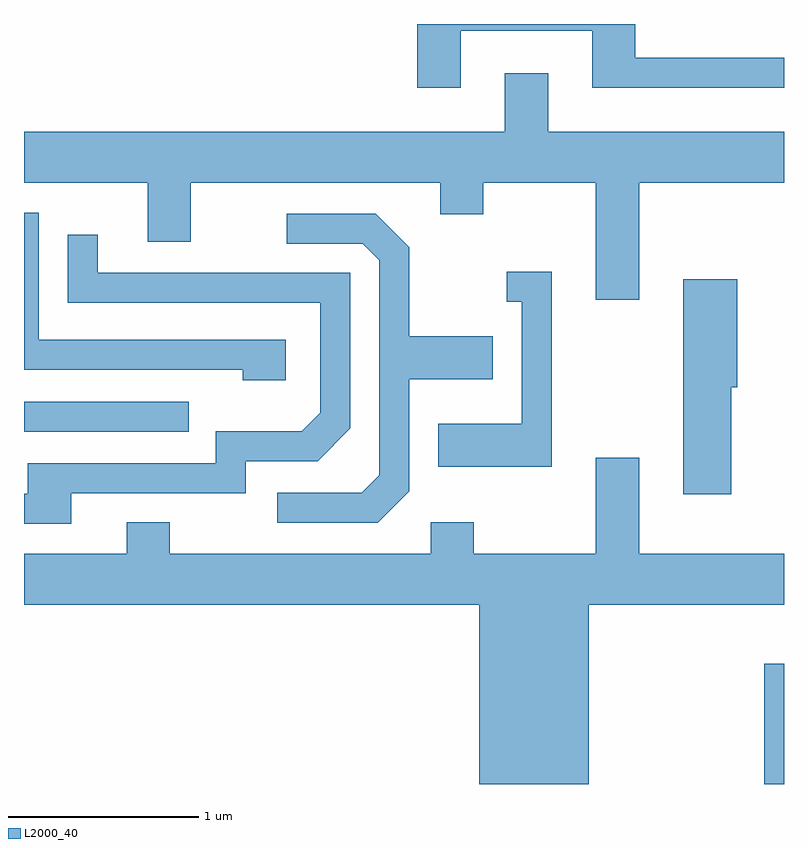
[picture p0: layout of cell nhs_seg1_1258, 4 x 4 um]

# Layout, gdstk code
import gdstk
lib = gdstk.Library(unit=1e-6, precision=1e-09)
def R(c, l, rs):  # rectangles x0, y0, x1, y1
    for r in rs: c.add(gdstk.rectangle(r[:2], r[2:], *l))
def P(c, l, *ps):  # polygons
    for p in ps: c.add(gdstk.Polygon(p, *l))
L2000_40 = (2000, 40)

nhs_seg1_1258 = lib.new_cell('nhs_seg1_1258')
R(nhs_seg1_1258, L2000_40, [(227.506,929.712,227.611,930.344), (223.611,931.566,224.478,931.724)])
P(nhs_seg1_1258, L2000_40, [(225.909,933.676),(226.601,933.676),(226.601,933.376),(227.611,933.376),(227.611,933.534),(226.829,933.534),(226.829,933.712),(225.681,933.712),(225.681,933.376),(225.909,933.376)],
  [(226.849,932.876),(227.611,932.876),(227.611,933.144),(226.369,933.144),(226.369,933.454),(226.141,933.454),(226.141,933.144),(223.611,933.144),(223.611,932.876),(224.261,932.876),(224.261,932.566),(224.489,932.566),(224.489,932.876),(225.801,932.876),(225.801,932.711),(226.029,932.711),(226.029,932.876),(226.621,932.876),(226.621,932.261),(226.849,932.261)],
  [(224.989,932.049),(223.689,932.049),(223.689,932.719),(223.611,932.719),(223.611,931.891),(224.761,931.891),(224.761,931.836),(224.989,931.836)],
  [(225.639,931.254),(225.639,931.841),(226.079,931.841),(226.079,932.069),(225.639,932.069),(225.639,932.537),(225.462,932.714),(224.993,932.714),(224.993,932.556),(225.394,932.556),(225.481,932.469),(225.481,931.337),(225.389,931.244),(224.943,931.244),(224.943,931.086),(225.472,931.086)],
  [(223.859,931.241),(224.779,931.241),(224.779,931.411),(225.157,931.411),(225.329,931.584),(225.329,932.404),(223.999,932.404),(223.999,932.603),(223.841,932.603),(223.841,932.246),(225.171,932.246),(225.171,931.667),(225.074,931.569),(224.621,931.569),(224.621,931.399),(223.631,931.399),(223.631,931.239),(223.611,931.239),(223.611,931.081),(223.859,931.081)],
  [(226.389,932.409),(226.153,932.409),(226.153,932.251),(226.231,932.251),(226.231,931.609),(225.791,931.609),(225.791,931.381),(226.389,931.381)],
  [(227.334,931.801),(227.364,931.801),(227.364,932.369),(227.081,932.369),(227.081,931.236),(227.334,931.236)],
  [(226.584,930.656),(227.611,930.656),(227.611,930.924),(226.849,930.924),(226.849,931.429),(226.621,931.429),(226.621,930.924),(225.979,930.924),(225.979,931.089),(225.751,931.089),(225.751,930.924),(224.379,930.924),(224.379,931.089),(224.151,931.089),(224.151,930.924),(223.611,930.924),(223.611,930.656),(226.006,930.656),(226.006,929.712),(226.584,929.712)])

lib.write_gds('nhs_seg1_1258.gds')
